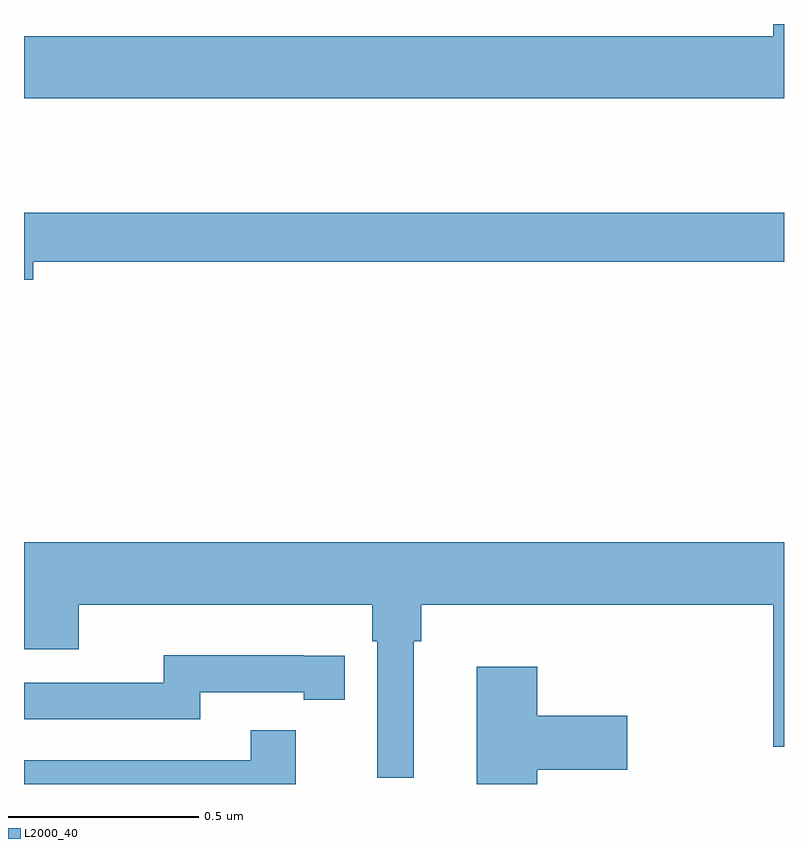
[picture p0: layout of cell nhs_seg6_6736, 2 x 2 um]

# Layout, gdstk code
import gdstk
lib = gdstk.Library(unit=1e-6, precision=1e-09)
def P(c, l, *ps):  # polygons
    for p in ps: c.add(gdstk.Polygon(p, *l))
L2000_40 = (2000, 40)

nhs_seg6_6736 = lib.new_cell('nhs_seg6_6736')
P(nhs_seg6_6736, L2000_40, [(201,979.5),(200.972,979.5),(200.972,979.468),(199,979.468),(199,979.304),(201,979.304)],
  [(199.024,978.874),(201,978.874),(201,979.003),(199,979.003),(199,978.827),(199.024,978.827)],
  [(200.026,977.876),(200.045,977.876),(200.045,977.972),(200.972,977.972),(200.972,977.598),(201,977.598),(201,978.136),(199,978.136),(199,977.855),(199.144,977.855),(199.144,977.972),(199.916,977.972),(199.916,977.876),(199.929,977.876),(199.929,977.517),(200.026,977.517)],
  [(199.464,977.742),(199.736,977.742),(199.736,977.722),(199.844,977.722),(199.844,977.838),(199.736,977.838),(199.736,977.839),(199.368,977.839),(199.368,977.766),(199,977.766),(199,977.67),(199.464,977.67)],
  [(200.351,977.537),(200.587,977.537),(200.587,977.679),(200.351,977.679),(200.351,977.809),(200.192,977.809),(200.192,977.5),(200.351,977.5)],
  [(199.715,977.641),(199.597,977.641),(199.597,977.562),(199,977.562),(199,977.5),(199.715,977.5)])

lib.write_gds('nhs_seg6_6736.gds')
